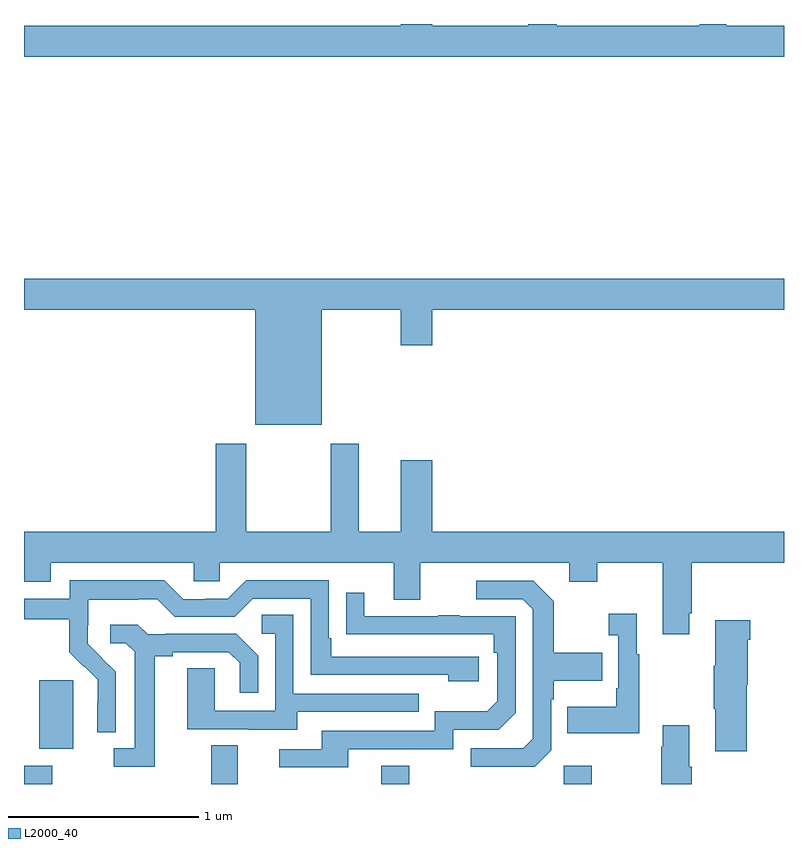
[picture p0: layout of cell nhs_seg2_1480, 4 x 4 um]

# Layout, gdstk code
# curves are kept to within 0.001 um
import gdstk
lib = gdstk.Library(unit=1e-6, precision=1e-09)
def R(c, l, rs):  # rectangles x0, y0, x1, y1
    for r in rs: c.add(gdstk.rectangle(r[:2], r[2:], *l))
def P(c, l, *ps):  # polygons
    for p in ps: c.add(gdstk.Polygon(p, *l))
L2000_40 = (2000, 40)

nhs_seg2_1480 = lib.new_cell('nhs_seg2_1480')
R(nhs_seg2_1480, L2000_40, [(187,651.8,187.149,651.895), (187.985,651.8,188.125,652.004), (188.879,651.8,189.027,651.895), (189.84,651.8,189.987,651.895), (187.079,651.986,187.258,652.347)])
P(nhs_seg2_1480, L2000_40, [(191,655.792),(190.695,655.792),(190.695,655.8),(190.557,655.8),(190.557,655.792),(189.805,655.792),(189.805,655.8),(189.653,655.8),(189.653,655.792),(189.148,655.792),(189.148,655.8),(188.984,655.8),(188.984,655.792),(187,655.792),(187,655.628),(191,655.628)],
  [(188.566,654.296),(188.984,654.296),(188.984,654.108),(189.148,654.108),(189.148,654.296),(191,654.296),(191,654.46),(187,654.46),(187,654.296),(188.216,654.296),(188.216,653.69),(188.566,653.69)],
  [(190.501,652.699),(190.514,652.699),(190.514,652.964),(191,652.964),(191,653.128),(189.148,653.128),(189.148,653.503),(188.984,653.503),(188.984,653.128),(188.761,653.128),(188.761,653.59),(188.614,653.59),(188.614,653.128),(188.169,653.128),(188.169,653.59),(188.009,653.59),(188.009,653.128),(187,653.128),(187,652.865),(187.141,652.865),(187.141,652.964),(187.893,652.964),(187.893,652.866),(188.031,652.866),(188.031,652.964),(188.945,652.964),(188.945,652.77),(189.085,652.77),(189.085,652.964),(189.869,652.964),(189.869,652.865),(190.017,652.865),(190.017,652.964),(190.361,652.964),(190.361,652.587),(190.501,652.587)],
  [(187.482,652.39),(187.336,652.538),(187.336,652.635),(187.338,652.635),(187.338,652.769),(187.601,652.769),(187.601,652.773),(187.701,652.773),(187.794,652.68),(188.109,652.68),(188.205,652.776),(188.508,652.776),(188.508,652.374),(189.233,652.374),(189.233,652.34),(189.394,652.34),(189.394,652.47),(188.617,652.47),(188.617,652.567),(188.604,652.567),(188.604,652.872),(188.169,652.872),(188.073,652.776),(187.955,652.776),(187.955,652.773),(187.839,652.773),(187.739,652.873),(187.242,652.873),(187.242,652.776),(187,652.776),(187,652.668),(187.237,652.668),(187.237,652.493),(187.314,652.416),(187.317,652.419),(187.388,652.349),(187.388,652.226),(187.386,652.226),(187.386,652.072),(187.482,652.072)],
  [(189.774,651.978),(189.774,652.247),(189.787,652.247),(189.787,652.343),(190.043,652.343),(190.043,652.491),(189.787,652.491),(189.787,652.763),(189.681,652.869),(189.381,652.869),(189.381,652.773),(189.624,652.773),(189.678,652.719),(189.678,652.038),(189.627,651.987),(189.351,651.987),(189.351,651.891),(189.687,651.891)],
  [(188.707,651.984),(189.258,651.984),(189.258,652.086),(189.498,652.086),(189.588,652.176),(189.588,652.683),(189.293,652.683),(189.293,652.688),(189.181,652.688),(189.181,652.683),(188.791,652.683),(188.791,652.807),(188.695,652.807),(188.695,652.588),(189.472,652.587),(189.472,652.49),(189.492,652.49),(189.492,652.236),(189.439,652.183),(189.162,652.183),(189.162,652.08),(188.567,652.08),(188.567,651.984),(188.343,651.984),(188.343,651.888),(188.707,651.888)],
  [(190.237,652.483),(190.225,652.483),(190.225,652.696),(190.077,652.696),(190.077,652.583),(190.128,652.583),(190.128,652.303),(190.116,652.303),(190.116,652.207),(189.859,652.207),(189.859,652.067),(190.237,652.067)],
  [(188.437,652.179),(189.077,652.179),(189.077,652.275),(188.418,652.275),(188.418,652.691),(188.25,652.691),(188.25,652.59),(188.322,652.59),(188.322,652.185),(188.004,652.185),(188.004,652.409),(187.859,652.409),(187.859,652.089),(188.183,652.089),(188.183,652.085),(188.437,652.085)],
  [(190.805,652.323),(190.81,652.323),(190.81,652.559),(190.823,652.559),(190.823,652.663),(190.637,652.663),(190.637,652.423),(190.63,652.423),(190.63,652.195),(190.637,652.195),(190.637,651.972),(190.805,651.972)],
  [(187.687,652.472),(187.783,652.472),(187.783,652.494),(188.078,652.494),(188.135,652.437),(188.135,652.281),(188.232,652.281),(188.232,652.474),(188.116,652.59),(187.744,652.59),(187.744,652.587),(187.65,652.587),(187.598,652.639),(187.455,652.639),(187.455,652.542),(187.536,652.542),(187.583,652.495),(187.583,651.987),(187.473,651.987),(187.473,651.891),(187.687,651.891)],
  [(190.514,651.892),(190.501,651.892),(190.501,652.108),(190.361,652.108),(190.361,651.995),(190.354,651.995),(190.354,651.8),(190.514,651.8)])

lib.write_gds('nhs_seg2_1480.gds')
